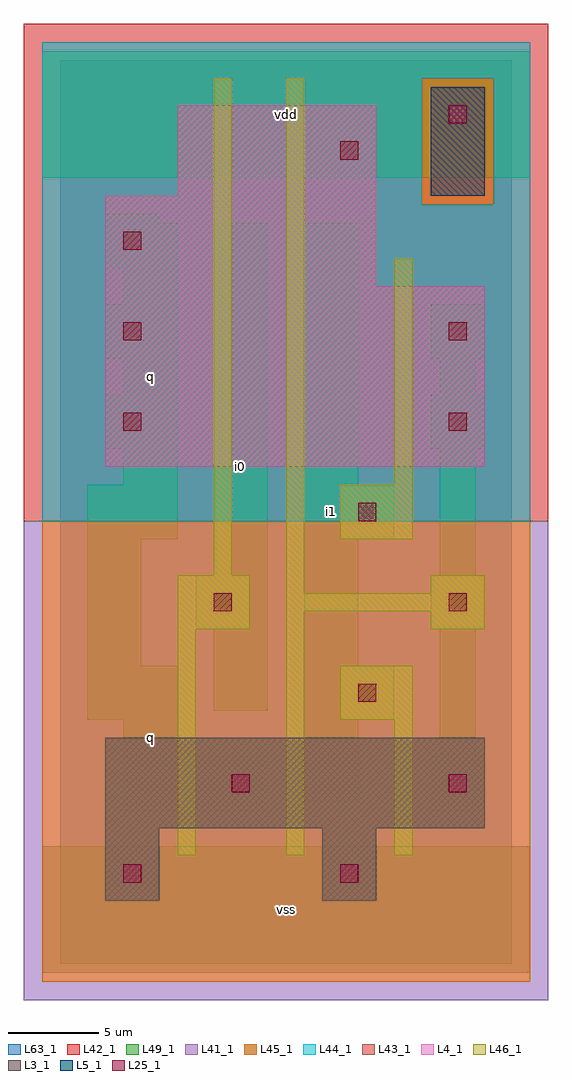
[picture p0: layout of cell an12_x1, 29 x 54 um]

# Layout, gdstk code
import gdstk
lib = gdstk.Library(unit=1e-6, precision=1e-09)
def R(c, l, rs):  # rectangles x0, y0, x1, y1
    for r in rs: c.add(gdstk.rectangle(r[:2], r[2:], *l))
def A(c, l, x, y, w, h, nx, ny, dx, dy):  # array of equal rectangles
    R(c, l, [(x+i*dx, y+j*dy, x+i*dx+w, y+j*dy+h) for i in range(nx) for j in range(ny)])
L3_1 = (3, 1)
L4_1 = (4, 1)
L5_1 = (5, 1)
L25_1 = (25, 1)
L41_1 = (41, 1)
L42_1 = (42, 1)
L43_1 = (43, 1)
L44_1 = (44, 1)
L45_1 = (45, 1)
L46_1 = (46, 1)
L49_1 = (49, 1)
L63_1 = (63, 1)

an12_x1 = lib.new_cell('an12_x1')
R(an12_x1, L3_1, [(2.5,3.5,5.5,7.5), (14.5,3.5,17.5,7.5), (2.5,7.5,23.5,12.5)])
R(an12_x1, L4_1, [(2.5,27.5,23.5,37.5), (2.5,37.5,17.5,42.5), (6.5,42.5,17.5,47.5)])
R(an12_x1, L5_1, [(20.5,42.5,23.5,48.5)])
A(an12_x1, L25_1, 21.5, 9.5, 1, 1, 1, 3, 0, 10)
A(an12_x1, L25_1, 3.5, 29.5, 1, 1, 1, 3, 0, 5)
R(an12_x1, L25_1, [(3.5,4.5,4.5,5.5), (15.5,4.5,16.5,5.5), (9.5,9.5,10.5,10.5), (16.5,14.5,17.5,15.5), (8.5,19.5,9.5,20.5), (16.5,24.5,17.5,25.5), (21.5,34.5,22.5,35.5), (15.5,44.5,16.5,45.5), (21.5,46.5,22.5,47.5)])
R(an12_x1, L41_1, [(-2,-2,27,24.5)])
R(an12_x1, L42_1, [(-2,24.5,27,52)])
R(an12_x1, L43_1, [(2.5,3.5,5.5,7.5), (14.5,3.5,17.5,7.5), (2.5,7.5,23.5,12.5), (2.5,27.5,23.5,37.5), (2.5,37.5,17.5,42.5), (6.5,42.5,17.5,47.5), (20.5,42.5,23.5,48.5)])
R(an12_x1, L44_1, [(-1,24.5,26,42), (-1,42,20,49), (24,42,26,49), (-1,49,26,51)])
R(an12_x1, L45_1, [(-1,-1,26,24.5), (20,42,24,49)])
R(an12_x1, L46_1, [(6.5,6,7.5,18.5), (12.5,6,13.5,19.5), (18.5,6,19.5,13.5), (15.5,13.5,19.5,16.5), (6.5,18.5,10.5,21.5), (20.5,18.5,23.5,19.5), (12.5,19.5,23.5,20.5), (12.5,20.5,13.5,49), (20.5,20.5,23.5,21.5), (8.5,21.5,9.5,49), (15.5,23.5,19.5,26.5), (18.5,26.5,19.5,39)])
A(an12_x1, L49_1, 20.5, 8.5, 3, 3, 1, 3, 0, 10)
A(an12_x1, L49_1, 3.5, 26.5, 3, 2, 1, 3, 0, 5)
R(an12_x1, L49_1, [(-1,-0.5,26,6.5), (3.5,8.5,11.5,11.5), (13.5,9,16.5,13.5), (3.5,11.5,6.5,13.5), (21,11.5,23,18.5), (1.5,13.5,6.5,16.5), (13.5,13.5,18.5,16.5), (8.5,14,11.5,18.5), (1.5,16.5,4.5,23.5), (13.5,16.5,16.5,23.5), (7.5,18.5,11.5,21.5), (8.5,21.5,11.5,41), (21,21.5,23,28.5), (1.5,23.5,6.5,26.5), (13.5,23.5,18.5,26.5), (13.5,26.5,16.5,41), (2.5,28.5,6.5,31.5), (21,31.5,23,33.5), (2.5,33.5,6.5,36.5), (20.5,33.5,23.5,36.5), (2.5,38.5,6.5,41), (2.5,41,5.5,41.5), (-1,43.5,26,50.5)])
R(an12_x1, L63_1, [(0,0,25,50)])
an12_x1.add(gdstk.Label('q', (5,12.5), layer=49, texttype=1))
an12_x1.add(gdstk.Label('q', (5,12.5), layer=49, texttype=1))
an12_x1.add(gdstk.Label('q', (5,32.5), layer=49, texttype=1))
an12_x1.add(gdstk.Label('q', (5,32.5), layer=49, texttype=1))
an12_x1.add(gdstk.Label('i0', (10,27.5), layer=49, texttype=1))
an12_x1.add(gdstk.Label('i0', (10,27.5), layer=49, texttype=1))
an12_x1.add(gdstk.Label('vss', (12.5,3), layer=49, texttype=1))
an12_x1.add(gdstk.Label('vss', (12.5,3), layer=49, texttype=1))
an12_x1.add(gdstk.Label('i1', (15,25), layer=49, texttype=1))
an12_x1.add(gdstk.Label('i1', (15,25), layer=49, texttype=1))
an12_x1.add(gdstk.Label('vdd', (12.5,47), layer=49, texttype=1))
an12_x1.add(gdstk.Label('vdd', (12.5,47), layer=49, texttype=1))

lib.write_gds('an12_x1.gds')
